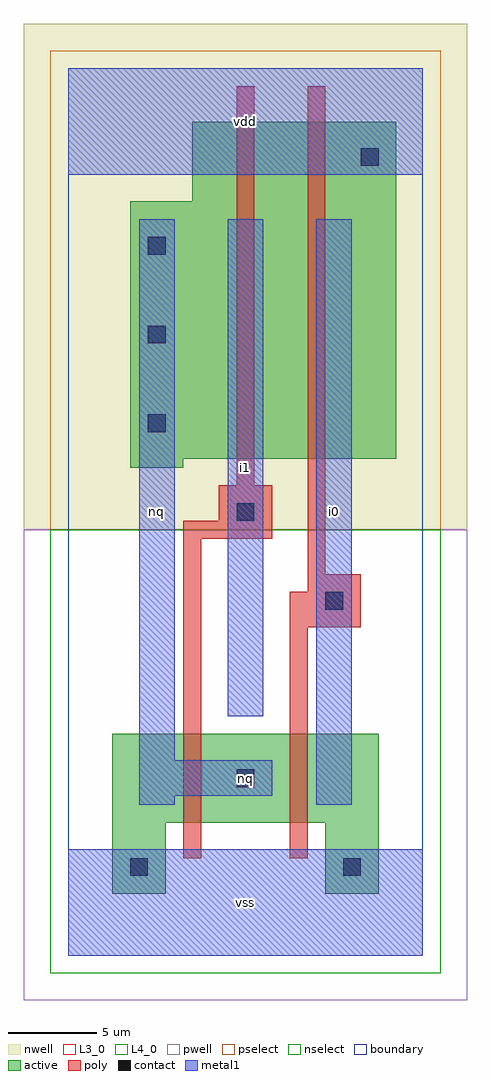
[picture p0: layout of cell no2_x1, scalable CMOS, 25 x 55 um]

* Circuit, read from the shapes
.subckt no2_x1 i0 i1 nq vdd vss
M1 nq i1 vss VSUBS nfet w=5u l=1u
M2 vss i0 nq VSUBS nfet w=5u l=1u
M3 n1 i1 nq n2 pfet w=19u l=1u
M4 vdd i0 n1 n2 pfet w=19u l=1u
.ends

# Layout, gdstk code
import gdstk
lib = gdstk.Library(unit=1e-6, precision=1e-09)
def R(c, l, rs):  # rectangles x0, y0, x1, y1
    for r in rs: c.add(gdstk.rectangle(r[:2], r[2:], *l))
def A(c, l, x, y, w, h, nx, ny, dx, dy):  # array of equal rectangles
    R(c, l, [(x+i*dx, y+j*dy, x+i*dx+w, y+j*dy+h) for i in range(nx) for j in range(ny)])
L3_0 = (3, 0)
L4_0 = (4, 0)
contact = (25, 0)
pwell = (41, 0)
nwell = (42, 0)
active = (43, 0)
pselect = (44, 0)
nselect = (45, 0)
poly = (46, 0)
metal1 = (49, 0)
boundary = (63, 0)

no2_x1 = lib.new_cell('no2_x1')
R(no2_x1, L3_0, [(2.5,3.5,5.5,7.5), (14.5,3.5,17.5,7.5), (2.5,7.5,17.5,12.5)])
R(no2_x1, L4_0, [(3.5,27.5,6.5,28), (3.5,28,18.5,42.5), (7,42.5,18.5,47)])
A(no2_x1, contact, 4.5, 29.5, 1, 1, 1, 3, 0, 5)
R(no2_x1, contact, [(3.5,4.5,4.5,5.5), (15.5,4.5,16.5,5.5), (9.5,9.5,10.5,10.5), (14.5,19.5,15.5,20.5), (9.5,24.5,10.5,25.5), (16.5,44.5,17.5,45.5)])
R(no2_x1, pwell, [(-2.5,-2.5,22.5,24)])
R(no2_x1, nwell, [(-2.5,24,22.5,52.5)])
R(no2_x1, active, [(2.5,3.5,5.5,7.5), (14.5,3.5,17.5,7.5), (2.5,7.5,17.5,12.5), (3.5,27.5,6.5,28), (3.5,28,18.5,42.5), (7,42.5,18.5,47)])
R(no2_x1, pselect, [(-1,24,21,51)])
R(no2_x1, nselect, [(-1,-1,21,24)])
R(no2_x1, poly, [(6.5,5.5,7.5,23.5), (12.5,5.5,13.5,18.5), (12.5,18.5,16.5,20.5), (13.5,20.5,16.5,21.5), (13.5,21.5,14.5,49), (6.5,23.5,11.5,24.5), (8.5,24.5,11.5,26.5), (9.5,26.5,10.5,49)])
R(no2_x1, metal1, [(0,0,20,6), (0,0,20,6), (4,8.5,6,9), (4,8.5,6,9), (14,8.5,16,41.5), (14,8.5,16,41.5), (4,9,11.5,11), (4,9,11.5,11), (4,11,6,41.5), (4,11,6,41.5), (9,13.5,11,41.5), (9,13.5,11,41.5), (0,44,20,50), (0,44,20,50)])
R(no2_x1, boundary, [(0,0,20,50)])
no2_x1.add(gdstk.Label('vss', (10,3), layer=49, texttype=0))
no2_x1.add(gdstk.Label('nq', (10,10), layer=49, texttype=0))
no2_x1.add(gdstk.Label('nq', (5,25), layer=49, texttype=0))
no2_x1.add(gdstk.Label('i1', (10,27.5), layer=49, texttype=0))
no2_x1.add(gdstk.Label('vdd', (10,47), layer=49, texttype=0))
no2_x1.add(gdstk.Label('i0', (15,25), layer=49, texttype=0))

lib.write_gds('no2_x1.gds')
